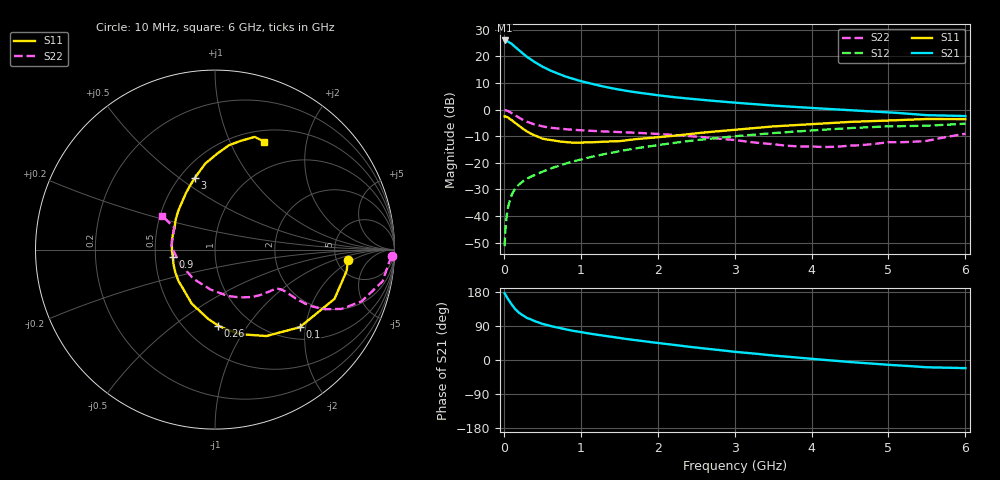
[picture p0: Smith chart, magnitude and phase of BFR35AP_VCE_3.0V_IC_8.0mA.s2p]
! Infineon Technologies  Discrete & RF Semiconductors
! BFR35AP
! VCE =  3.0 V,  IC =  8.0 mA
! Common Emitter S-Parameters:  Nov 2015
# GHz  S  MA  R  50
!  f  S11  S21  S12  S22
! GHz  MAG  ANG  MAG  ANG  MAG  ANG  MAG  ANG
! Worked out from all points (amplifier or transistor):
!   210 points, 10 MHz to 6 GHz, reference 50 ohm
!   highest |S21| = 26.0 dB at 10 MHz (marker M1)
!   |S21| within 3 dB of that: start of sweep to 169.9 MHz
!   unconditionally stable (mu >= 1): 637.3 MHz to 3.437 GHz
!   at 185 MHz: K = 0.50, MSG = 25.6 dB, |S12| = -28.5 dB
!   at 1.52 GHz: K = 1.12, MAG = 9.4 dB, |S12| = -15.6 dB
!   at 6 GHz: K = 0.96, MSG = 1.4 dB, |S12| = -5.3 dB
!   S11 on the Smith chart (normalised r, x): 10 MHz: 6.33, -1.68; 100 MHz: 1.27, -1.86; 260 MHz: 0.72, -0.74; 900 MHz: 0.62, -0.05; 3 GHz: 0.59, +0.58; 6 GHz: 0.63, +1.35
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0.01  0.7431 -4.6  19.94 176.3  0.0027 84.2  0.9855 -2.1
0.02  0.743 -9.2  19.63 172.4  0.0054 85.0  0.9717 -4.4
0.05  0.7201 -22.4  19.22 162.0  0.0134 77.8  0.9505 -10.7
0.1  0.6401 -42.5  17.32 146.7  0.0244 71.1  0.8665 -19.4
0.15  0.5602 -59.3  14.94 133.6  0.0333 64.8  0.779 -25.1
0.2  0.4907 -73.8  12.99 124.2  0.0393 62.0  0.6989 -28.4
0.24  0.4435 -83.1  11.56 118.5  0.0438 60.5  0.6478 -29.8
0.26  0.4239 -87.5  10.94 115.8  0.046 60.1  0.6261 -30.3
0.3  0.3887 -95.5  9.819 111.1  0.0502 59.7  0.5899 -30.9
0.4  0.3274 -113.4  7.836 102.5  0.059 59.9  0.5247 -31.2
0.5  0.2852 -127.1  6.424 95.4  0.0675 60.4  0.4821 -30.9
0.6  0.2688 -139.1  5.467 90.0  0.0772 61.1  0.4569 -30.8
0.7  0.2548 -150.2  4.763 85.2  0.0862 61.6  0.4405 -30.9
0.9  0.2388 -170.0  3.768 77.0  0.1059 62.2  0.4161 -31.6
1.02  0.2401 -179.5  3.376 73.0  0.1171 62.1  0.4065 -32.6
1.4  0.254 155.7  2.522 61.0  0.1543 60.6  0.384 -37.2
2.02  0.3035 131.1  1.846 44.4  0.2169 55.5  0.3463 -48.2
3  0.4166 105.4  1.351 21.7  0.3151 44.6  0.2676 -74.8
3.1  0.4288 103.4  1.316 19.9  0.324 43.2  0.2562 -78.5
4.1  0.5438 87.4  1.052 1.4  0.4137 30.4  0.1989 -132.8
5.1  0.6306 75.4  0.869 -13.9  0.4857 16.5  0.2433 170.7
6  0.6608 65.7  0.755 -21.5  0.5416 6.3  0.3504 147.5
